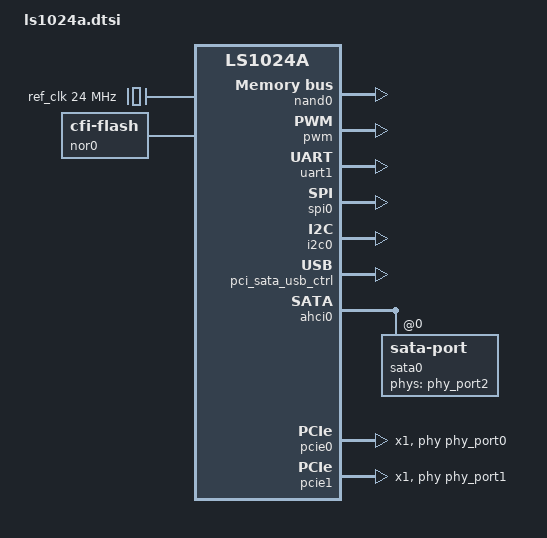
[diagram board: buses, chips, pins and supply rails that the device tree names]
#include <dt-bindings/gpio/gpio.h>
#include <dt-bindings/interrupt-controller/arm-gic.h>
#include <dt-bindings/pinctrl/omap.h>
#include <dt-bindings/phy/phy.h>
#include <dt-bindings/reset-controller/ls1024a-resets.h>

#include "skeleton.dtsi"

/ {
	compatible = "fsl,ls1024a";
	interrupt-parent = <&gic>;

	cpus {
		#address-cells = <1>;
		#size-cells = <0>;
		enable-method = "fsl,ls1024a-smp";

		cpu@900 {
			compatible = "arm,cortex-a9";
			device_type = "cpu";
			next-level-cache = <&L2>;
			reg = <0x900>;

			clocks = <&arm_clk>;
			clock-names = "cpu";

			// clock-latency = <300000>; /* From omap-cpufreq driver */
		};
		cpu@901 {
			compatible = "arm,cortex-a9";
			device_type = "cpu";
			next-level-cache = <&L2>;
			reg = <0x901>;
		};
	};

	pmu {
		compatible = "arm,cortex-a9-pmu";
		interrupts = <GIC_SPI 9 IRQ_TYPE_LEVEL_HIGH>,
			   <GIC_SPI 10 IRQ_TYPE_LEVEL_HIGH>;
	};

	clk_rst_syscon: clk_rst_syscon@904B0000 {
		compatible = "syscon";
		reg = <0x904B0000 0x1AC>;
		#address-cells = <1>;
		#size-cells = <1>;
	};

	reboot: syscon-reboot {
		compatible = "syscon-reboot";
		regmap = <&clk_rst_syscon>;
		offset = <0x0>;
		mask = <0x1>;
	};

	gic: interrupt-controller@fff01000 {
		compatible = "arm,cortex-a9-gic";
		interrupt-controller;
		#interrupt-cells = <3>;
		reg = <0xFFF01000 0x1000>,
		      <0xFFF00100 0x0100>;
	};

	L2: l2-cache-controller@fff10000 {
		compatible = "arm,pl310-cache";
		reg = <0xFFF10000 0x1000>;
		arm,data-latency = <1 1 1>;
		arm,tag-latency = <1 1 1>;
		arm,filter-ranges = <0x0 0x80000000>;
		cache-unified;
		cache-level = <2>;
	};

	reset: reset-controller {
		compatible = "fsl,ls1024a-reset";
		#reset-cells = <1>;
		syscon = <&clk_rst_syscon>;
	};

	ref_clk: ref_clk {
		#clock-cells = <0>;
		compatible = "fixed-clock";
		clock-frequency = <24000000>;
	};

	pll0: pll0 {
		#clock-cells = <0>;
		compatible = "fixed-factor-clock";
		clock-div = <6>;
		clock-mult = <450>;
		clocks = <&ref_clk>;
	};

	pll1: pll1 {
		#clock-cells = <0>;
		compatible = "fixed-factor-clock";
		clock-div = <12>;
		clock-mult = <500>;
		clocks = <&ref_clk>;
	};

	pll2: pll2 {
		#clock-cells = <0>;
		compatible = "fixed-factor-clock";
		clock-div = <6>;
		clock-mult = <375>;
		clocks = <&ref_clk>;
	};

	pll3: pll3 {
		#clock-cells = <0>;
		compatible = "fixed-clock";
		clock-frequency = <1066000000>;
	};

	gemtx_clk: gemtx_clk {
		#clock-cells = <0>;
		reg = <0x904B0130 0x8>;
		compatible = "fsl,ls1024a-clock";
		clocks = <&pll0 &pll1 &pll2 &pll3 &ref_clk>;
	};

	ddr_clk: ddr_clk {
		#clock-cells = <0>;
		reg = <0x904B00F0 0x8>;
		compatible = "fsl,ls1024a-clock";
		clocks = <&pll0 &pll1 &pll2 &pll3 &ref_clk>;
	};

	arm_clk: arm_clk {
		#clock-cells = <0>;
		reg = <0x904B0080 0x8>;
		compatible = "fsl,ls1024a-clock";
		clocks = <&pll0 &pll1 &pll2 &pll3 &ref_clk>;
	};

	l2cc_clk: l2cc_clk {
		#clock-cells = <0>;
		reg = <0x904B0090 0x8>;
		compatible = "fsl,ls1024a-clock";
		clocks = <&pll0 &pll1 &pll2 &pll3 &ref_clk>;
	};

	axi_clk: axi_clk {
		#clock-cells = <0>;
		reg = <0x904B0040 0x10>;
		fsl,divreg-offset = <0xC>;
		compatible = "fsl,ls1024a-clock";
		clocks = <&pll0 &pll1 &pll2 &pll3 &ref_clk>;
	};

	ipsec_eape_clk: ipsec_eape_clk {
		#clock-cells = <0>;
		reg = <0x904B0110 0x8>;
		compatible = "fsl,ls1024a-clock";
		clocks = <&pll0 &pll1 &pll2 &pll3 &ref_clk>;
	};

	hfe_core_clk: hfe_core_clk {
		#clock-cells = <0>;
		reg = <0x904B0100 0x8>;
		compatible = "fsl,ls1024a-clock";
		clocks = <&pll0 &pll1 &pll2 &pll3 &ref_clk>;
	};

	ntgref_clk: ntgref_clk {
		#clock-cells = <0>;
		reg = <0x904B0140 0x8>;
		compatible = "fsl,ls1024a-clock";
		clocks = <&pll0 &pll1 &pll2 &pll3 &ref_clk>;
	};

	sata_oob_clk: sata_oob_clk {
		#clock-cells = <0>;
		reg = <0x904B0170 0x8>;
		compatible = "fsl,ls1024a-clock";
		clocks = <&pll0 &pll1 &pll2 &pll3 &ref_clk>;
	};

	sata_pmu_clk: sata_pmu_clk {
		#clock-cells = <0>;
		reg = <0x904B0160 0x8>;
		compatible = "fsl,ls1024a-clock";
		clocks = <&pll0 &pll1 &pll2 &pll3 &ref_clk>;
	};

	ext_phy0_clk: ext_phy0_clk {
		#clock-cells = <0>;
		reg = <0x904B00C0 0x8>;
		compatible = "fsl,ls1024a-clock";
		clocks = <&pll0 &pll1 &pll2 &pll3 &ref_clk>;
	};

	ext_phy1_clk: ext_phy1_clk {
		#clock-cells = <0>;
		reg = <0x904B00D0 0x8>;
		compatible = "fsl,ls1024a-clock";
		clocks = <&pll0 &pll1 &pll2 &pll3 &ref_clk>;
	};

	ext_phy2_clk: ext_phy2_clk {
		#clock-cells = <0>;
		reg = <0x904B00E0 0x8>;
		compatible = "fsl,ls1024a-clock";
		clocks = <&pll0 &pll1 &pll2 &pll3 &ref_clk>;
	};

	tpi_clk: tpi_clk {
		#clock-cells = <0>;
		reg = <0x904B00A0 0x8>;
		compatible = "fsl,ls1024a-clock";
		clocks = <&pll0 &pll1 &pll2 &pll3 &ref_clk>;
	};

	csys_clk: csys_clk {
		#clock-cells = <0>;
		reg = <0x904B00B0 0x8>;
		compatible = "fsl,ls1024a-clock";
		clocks = <&pll0 &pll1 &pll2 &pll3 &ref_clk>;
	};

	tsuntg_clk: tsuntg_clk {
		#clock-cells = <0>;
		reg = <0x904B0150 0x8>;
		compatible = "fsl,ls1024a-clock";
		clocks = <&pll0 &pll1 &pll2 &pll3 &ref_clk>;
	};

	sata_occ_clk: sata_occ_clk {
		#clock-cells = <0>;
		reg = <0x904B0180 0x8>;
		compatible = "fsl,ls1024a-clock";
		clocks = <&pll0 &pll1 &pll2 &pll3 &ref_clk>;
	};

	pcie_occ_clk: pcie_occ_clk {
		#clock-cells = <0>;
		reg = <0x904B0190 0x8>;
		compatible = "fsl,ls1024a-clock";
		clocks = <&pll0 &pll1 &pll2 &pll3 &ref_clk>;
	};

	sgmii_occ_clk: sgmii_occ_clk {
		#clock-cells = <0>;
		reg = <0x904B01A0 0x8>;
		compatible = "fsl,ls1024a-clock";
		clocks = <&pll0 &pll1 &pll2 &pll3 &ref_clk>;
	};
	local-timer@fff00600 {
		compatible = "arm,cortex-a9-twd-timer";
		clocks = <&axi_clk>;
		reg = <0xFFF00600 0x20>;
		interrupts = <GIC_PPI 13 (GIC_CPU_MASK_RAW(3) | IRQ_TYPE_LEVEL_HIGH)>;
	};
	gp-timer@90450000 {
		compatible = "fsl,ls1024a-gpt";
		clocks = <&axi_clk>;
		reg = <0x90450000 0xD0>;
		interrupts = <GIC_SPI 55 IRQ_TYPE_EDGE_RISING
			      GIC_SPI 56 IRQ_TYPE_EDGE_RISING
			      GIC_SPI 57 IRQ_TYPE_EDGE_RISING
			      GIC_SPI 58 IRQ_TYPE_EDGE_RISING
			      GIC_SPI 59 IRQ_TYPE_EDGE_RISING
			      GIC_SPI 60 IRQ_TYPE_EDGE_RISING>;
	};

	watchdog@904500D0 {
		compatible = "fsl,ls1024a-wdt";
		reg = <0x904500D0 0xC>;
		regmap = <&clk_rst_syscon>;
		clocks = <&axi_clk>;
	};

	nor0: flash@c0000000 {
		compatible = "cfi-flash";
		reg = <0xc0000000 0x04000000>;
		bank-width = <2>;
		#address-cells = <1>;
		#size-cells = <1>;
	};

	nand0: nand@c8300000 {
		compatible = "fsl,ls1024a-nand";
		#address-cells = <1>;
		#size-cells = <1>;
		reg = <0xc8300000 0x2000
		       0xCFFF0000 0x2c>;
		ce-gpios = <&pinctrl0 28 GPIO_ACTIVE_HIGH>;
		br-gpios = <&pinctrl0 29 GPIO_ACTIVE_HIGH>;
	};

	otp0: otp@904F0000 {
		compatible = "fsl,ls1024a-otp";
		reg = <0x904F0000 0x58>;
		clocks = <&axi_clk>;
	};

	pwm: pwm@12dd0000 {
		compatible = "fsl,ls1024a-pwm";
		reg = <0x90458000 0x38>;
		#pwm-cells = <2>;
		clocks = <&axi_clk>;
	};

	pinctrl0: pinctrl@90470000 {
		compatible = "fsl,ls1024a-pinctrl";
		reg = <0x90470000 0x100>;
		gpio-controller;
		#gpio-cells = <2>;
		gpio-ranges = <&pinctrl0 0 0 0>;
		gpio-ranges-group-names = "gpio";
		interrupt-controller;
		#interrupt-cells = <2>;
		interrupt-parent = <&gic>;
		interrupts = <GIC_SPI 45 IRQ_TYPE_NONE>;
	};

	/* We are not using uart0, only uart1 */
	uart1: serial@96400000 {
		compatible = "snps,dw-apb-uart";
		reg = <0x96400000 0x100>;
		interrupts = <GIC_SPI 27 IRQ_TYPE_LEVEL_HIGH>;
		reg-shift = <2>;
		reg-io-width = <4>;
		clocks = <&axi_clk>;
		clock-names = "baudclk";
	};

	spi0: spi@fff00000 {
		compatible = "snps,dw-apb-ssi";
		#address-cells = <1>;
		#size-cells = <0>;
		reg = <0x96500000 0x1000>;
		interrupts = <GIC_SPI 28 IRQ_TYPE_LEVEL_HIGH>;
		num-cs = <1>;
		clocks = <&axi_clk>; /* TODO: Should be DUS clock */
	};

	i2c0: i2c@9049C000 {
		compatible = "fsl,ls1024a-i2c";
		#address-cells = <1>;
		#size-cells = <0>;
		reg = <0x9049C000 0x1000>;
		interrupts = <GIC_SPI 30 IRQ_TYPE_LEVEL_HIGH>;
		clocks = <&axi_clk>; /* TODO: Should be spi_i2c */
	};

	snowbush_phy: phy@90590000 {
		compatible      = "fsl,ls1024a-snowbush-phy";
		#address-cells	= <1>;
		#size-cells	= <1>;
		ranges;

		phy_port0: port@90590000 {
			#phy-cells = <1>;
			reg = <0x90590000 0x4000>, <0x9041002C 0x10>;
			reg-names = "serdes", "dwc1_cfg";
			resets = <&reset LS1024A_SERDES0_RESET>,
				 <&reset LS1024A_SERDES_PCIE0_RESET>;
			reset-names = "serdes", "serdes_pcie";
		};

		phy_port1: port@90594000 {
			#phy-cells = <1>;
			reg = <0x90594000 0x4000>, <0x9041003C 0x10>;
			reg-names = "serdes", "dwc1_cfg";
			resets = <&reset LS1024A_SERDES1_RESET>,
				 <&reset LS1024A_SERDES_PCIE1_RESET>,
				 <&reset LS1024A_SERDES_SATA0_RESET>;
			reset-names = "serdes", "serdes_pcie", "serdes_sata";
		};
		phy_port2: port@90598000 {
			#phy-cells = <1>;
			reg = <0x90598000 0x4000>, <0x9041004C 0x10>;
			reg-names = "serdes", "dwc1_cfg";
			resets = <&reset LS1024A_SERDES2_RESET>,
				 <&reset LS1024A_SERDES_SATA1_RESET>;
			reset-names = "serdes", "serdes_sata";
		};
	};

	pci_sata_usb_ctrl: pci_sata_usb_ctrl@90460000 {
		compatible = "syscon";
		reg = <0x90460000 0x120>;
		#address-cells = <1>;
		#size-cells = <1>;
	};
	ahci0: ahci@9d000000 {
		compatible = "generic-ahci";
		reg = <0x9d000000 0x10000>;
		interrupts = <GIC_SPI 16 IRQ_TYPE_LEVEL_HIGH>;
		#address-cells = <1>;
		#size-cells = <0>;
		sata0: sata-port@0 {
			reg = <0>;
			phys = <&phy_port2 PHY_TYPE_SATA>;
		};
	};
	pcie0: pcie@98000000 {
		compatible = "fsl,ls1024a-pcie", "snps,dw-pcie";
		reg = <0x98000000 0x04000>, /* TODO: verify size */
		      <0xaff10000 0x20000>;
		reg-names = "dbi", "config";
		app-syscon = <&pci_sata_usb_ctrl>;
		app-profile = <0>;
		#address-cells = <3>;
		#size-cells = <2>;
		device_type = "pci";
		ranges = <0x81000000 0 0          0xaff00000 0 0x00010000 /* downstream I/O */
			  0x82000000 0 0xa0000000 0xa0000000 0 0x0fe00000>; /* non-prefetchable memory */
		num-lanes = <1>;
		phys	        = <&phy_port0 PHY_TYPE_PCIE>;
		phy-names       = "pcie-phy";
		interrupts = <GIC_SPI 43 IRQ_TYPE_LEVEL_HIGH>;
		interrupt-names = "msi";
		#interrupt-cells = <1>;
		interrupt-map-mask = <0 0 0 0>;
		interrupt-map = <0 0 0 0 &gic GIC_SPI 43 IRQ_TYPE_LEVEL_HIGH>;
		clocks = <&axi_clk>; /* TODO: Should be pcie0 */
		clock-names = "pcie";
		resets = <&reset LS1024A_AXI_PCIE0_RESET>;
		reset-names = "axi";
	};

	pcie1: pcie@99000000 {
		compatible = "fsl,ls1024a-pcie", "snps,dw-pcie";
		reg = <0x99000000 0x04000>, /* TODO: verify size */
		      <0xbff10000 0x20000>;
		reg-names = "dbi", "config";
		app-syscon = <&pci_sata_usb_ctrl>;
		app-profile = <1>;
		#address-cells = <3>;
		#size-cells = <2>;
		device_type = "pci";
		ranges = <0x81000000 0 0          0xbff00000 0 0x00010000 /* downstream I/O */
			  0x82000000 0 0xb0000000 0xb0000000 0 0x0fe00000>; /* non-prefetchable memory */
		num-lanes = <1>;
		phys	        = <&phy_port1 PHY_TYPE_PCIE>;
		phy-names       = "pcie-phy";
		interrupts = <GIC_SPI 44 IRQ_TYPE_LEVEL_HIGH>;
		interrupt-names = "msi";
		#interrupt-cells = <1>;
		interrupt-map-mask = <0 0 0 0>;
		interrupt-map = <0 0 0 0 &gic GIC_SPI 44 IRQ_TYPE_LEVEL_HIGH>;
		clocks = <&axi_clk>; /* TODO: Should be pcie1 */
		clock-names = "pcie";
		resets = <&reset LS1024A_AXI_PCIE1_RESET>;
		reset-names = "axi";
	};

	usb2_phy: usb2_phy@90410000 {
		compatible	= "fsl,ls1024a-usb2-phy";
		reg		= <0x90410000 0x4>;
		syscon		= <&pci_sata_usb_ctrl>;
		#phy-cells	= <0>;
		resets		= <&reset LS1024A_USB0_PHY_RESET &reset LS1024A_UTMI_USB0_RESET &reset LS1024A_AXI_USB0_RESET>;
		reset-names	= "phy", "utmi", "axi";
		clocks = <&axi_clk>; /* TODO: Should be usb0 */
		clock-names = "usb";
		status = "disabled";
	};

	/* USB 2.0 Synopsys DesignWare controller */
	usb2: usb2@92000000 {
		compatible = "snps,dwc2";
		reg = <0x92000000 0x1000000>;
		interrupts = <GIC_SPI 21 IRQ_TYPE_LEVEL_HIGH>;
		phys = <&usb2_phy>;
		phy-names = "usb2-phy";
		status = "disabled";
	};

	usb3_phy: usb3_phy@904a0000 {
		compatible	= "fsl,ls1024a-usb3-phy";
		reg		= <0x904A0000 0x100>;
		#phy-cells	= <0>;
		resets		= <&reset LS1024A_USB1_PHY_RESET>;
		reset-names	= "phy";
		status = "disabled";
	};

	usb3: usb3 {
		compatible = "fsl,ls1024a-dwc3";
		clocks = <&axi_clk>; /* TODO: Should be usb1 */
		clock-names = "usb";
		resets = <&reset LS1024A_UTMI_USB1_RESET &reset LS1024A_AXI_USB1_RESET>;
		reset-names = "utmi", "axi";
		#address-cells = <1>;
		#size-cells = <1>;
		ranges;
		status = "disabled";

		dwc3: dwc3@9f000000  {
			compatible = "snps,dwc3";
			reg = <0x9F000000 0x00800000>;
			interrupts = <GIC_SPI 22 IRQ_TYPE_LEVEL_HIGH>;
			phys = <&usb3_phy>;
			phy-names = "usb3-phy";
		};
	};

};
